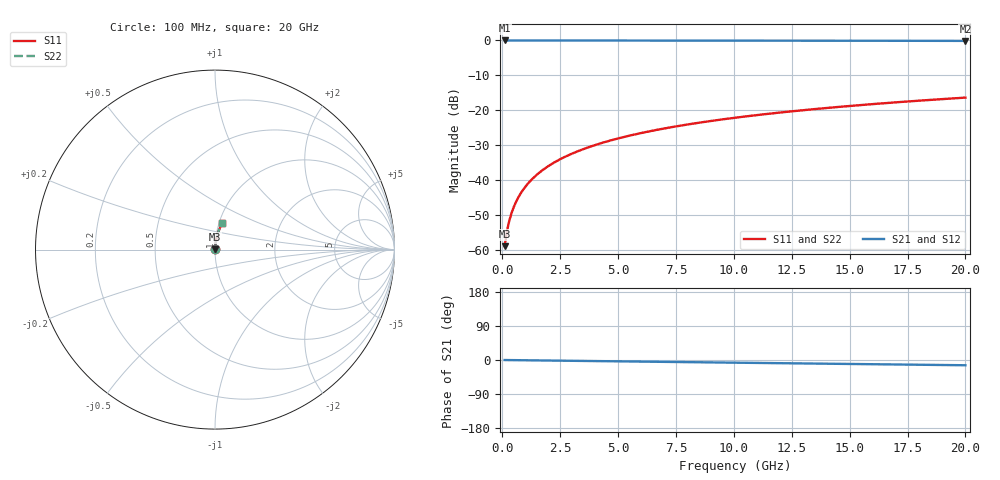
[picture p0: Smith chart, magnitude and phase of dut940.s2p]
! Touchstone file exported from HFSS 2026.1.0
!  File:  C:/ffzhzh/LocalFiles/Ansys_Project_Files/temp_train_TMRDL_940_1783158510_51560.aedt
!  Generated:  05:49:40 PM Jul  4, 2026
!  Design:  TMRDL
!  Project:  temp_train_TMRDL_940_1783158510_51560
! Variables:
!  h_bsmrdl = 2um
!  h_ox = 20um
!  h_rdl = 5um
!  h_sub = 80um
!  h_tmrdl = 3.94um
!  h_tsv = 80um
!  h_via = 3um
!  l_bsmrdl = 300um
!  l_sub = 548.26um
!  l_tmrdl = 148.26um
!  m_sub = 200um
!  pitch = 56.99um
!  r_tsv = 6um
!  s_tmrdl = 10um
!  w_bsmrdl = 18um
!  w_sub = 500um
!  w_tmrdl = 24.3um
!  x_tsv_center1 = 160.41um
!  x_tsv_center2 = 478.41um
!  x_tsv_center3 = 650.97um
!  x_tsv_center4 = 968.97um
!  x_tsv_center5 = 1141.53um
!  x_tsv_center6 = 1459.53um
# GHz S MA R 50.000000
! Terminal data exported
! Port[1] = TM_RDL1_1_T1
! Port[2] = TM_RDL1_1_T2
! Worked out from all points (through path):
!   200 points, 100 MHz to 20 GHz, reference 50 ohm
!   highest |S21| = -0.01 dB at 100 MHz (marker M1); lowest = -0.1 dB at 20 GHz (marker M2)
!   group delay of S21, straight-line fit = 1.92 ps
!   lowest |S11| = -58.8 dB at 100 MHz (marker M3), VSWR 1.00, Z = 50.1 + j0.0858 ohm
!   |S11| at or under -10 dB: start of sweep to end of sweep
!   |S22| runs from -58.8 to -16.4 dB; largest |S21 - S12| = 3.7e-15
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0.1  0.001143 48.5  0.9992 -0.1  0.9992 -0.1  0.001143 48.5
! Gamma 0 0 0 0
! Port Impedance 50 0 50 0
0.2  0.001867 64.6  0.9992 -0.1  0.9992 -0.1  0.001867 64.6
0.3  0.002633 71.3  0.9992 -0.2  0.9992 -0.2  0.002633 71.3
0.4  0.003407 75.1  0.9991 -0.3  0.9991 -0.3  0.003407 75.1
0.5  0.004184 77.5  0.9991 -0.4  0.9991 -0.4  0.004184 77.5
0.7  0.00575 80.4  0.9991 -0.5  0.9991 -0.5  0.00575 80.4
0.8  0.006537 81.3  0.9991 -0.6  0.9991 -0.6  0.006537 81.3
1  0.008117 82.6  0.999 -0.7  0.999 -0.7  0.008117 82.6
1.2  0.009701 83.4  0.999 -0.9  0.999 -0.9  0.009701 83.4
1.4  0.01129 84.0  0.9989 -1.0  0.9989 -1.0  0.01129 84.0
1.7  0.01367 84.5  0.9989 -1.2  0.9989 -1.2  0.01367 84.5
2  0.01605 84.8  0.9988 -1.4  0.9988 -1.4  0.01605 84.8
2.7  0.0216 85.0  0.9986 -1.9  0.9986 -1.9  0.0216 85.0
3.5  0.02792 84.9  0.9983 -2.5  0.9983 -2.5  0.02792 84.9
4.2  0.03341 84.6  0.998 -3.0  0.998 -3.0  0.03341 84.6
5  0.03966 84.2  0.9977 -3.5  0.9977 -3.5  0.03966 84.2
6.8  0.05361 83.2  0.9967 -4.8  0.9967 -4.8  0.05361 83.2
8.3  0.06512 82.3  0.9957 -5.8  0.9957 -5.8  0.06512 82.3
10.1  0.07882 81.1  0.9945 -7.1  0.9945 -7.1  0.07882 81.1
13.4  0.1036 79.1  0.9918 -9.4  0.9918 -9.4  0.1036 79.1
16.7  0.1281 77.0  0.9886 -11.6  0.9886 -11.6  0.1281 76.9
20  0.1521 74.8  0.9849 -13.9  0.9849 -13.9  0.1522 74.8
